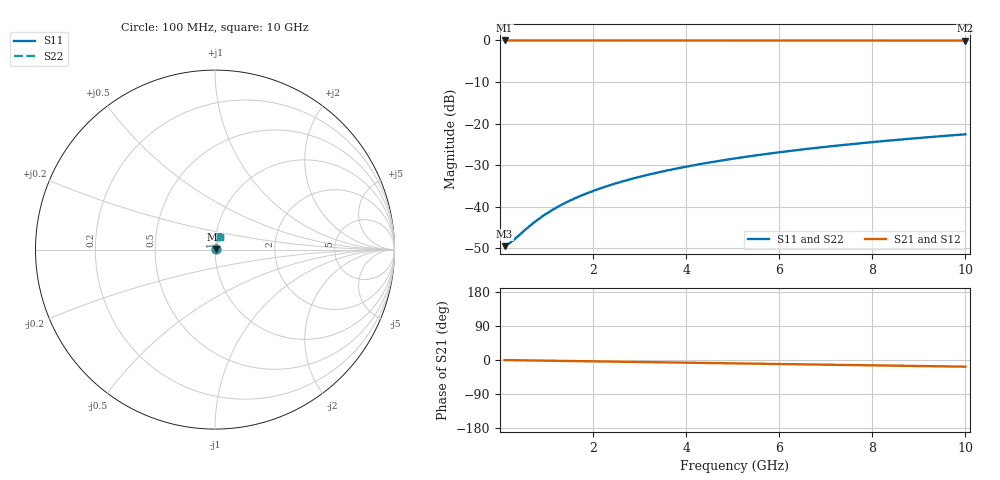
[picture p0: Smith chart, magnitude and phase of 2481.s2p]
# Hz S RI R 50.00
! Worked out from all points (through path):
!   100 points, 100 MHz to 10 GHz, reference 50 ohm
!   highest |S21| = -0.03 dB at 100 MHz (marker M1); lowest = -0.1 dB at 10 GHz (marker M2)
!   group delay of S21, straight-line fit = 4.89 ps
!   lowest |S11| = -49.5 dB at 100 MHz (marker M3), VSWR 1.01, Z = 50.3 + j0.0749 ohm
!   |S11| at or under -10 dB: start of sweep to end of sweep
!   |S22| runs from -49.5 to -22.6 dB; largest |S21 - S12| = 0
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1e8  0.00327 0.000744  0.9967 -0.00306  0.9967 -0.00306  0.00327 0.000744
2e8  0.0033 0.00149  0.9967 -0.00612  0.9967 -0.00612  0.0033 0.00149
3e8  0.00332 0.00223  0.9966 -0.00919  0.9966 -0.00919  0.00332 0.00223
6e8  0.00341 0.00446  0.9965 -0.0184  0.9965 -0.0184  0.00341 0.00446
7e8  0.00345 0.0052  0.9964 -0.0214  0.9964 -0.0214  0.00345 0.0052
8e8  0.00349 0.00595  0.9963 -0.0245  0.9963 -0.0245  0.00349 0.00595
1e9  0.00359 0.00743  0.9961 -0.0306  0.9961 -0.0306  0.00359 0.00743
1.2e9  0.0037 0.00891  0.9959 -0.0367  0.9959 -0.0367  0.0037 0.00891
1.4e9  0.00383 0.0104  0.9956 -0.0429  0.9956 -0.0429  0.00383 0.0104
1.6e9  0.00398 0.0119  0.9953 -0.049  0.9953 -0.049  0.00398 0.0119
1.8e9  0.00414 0.0134  0.9949 -0.0551  0.9949 -0.0551  0.00414 0.0134
2.1e9  0.00442 0.0156  0.9943 -0.0643  0.9943 -0.0643  0.00442 0.0156
2.5e9  0.00485 0.0185  0.9934 -0.0765  0.9934 -0.0765  0.00485 0.0185
2.9e9  0.00536 0.0214  0.9923 -0.0887  0.9923 -0.0887  0.00536 0.0214
3.4e9  0.00609 0.0251  0.9907 -0.1039  0.9907 -0.1039  0.00609 0.0251
4.2e9  0.00749 0.0308  0.9877 -0.1282  0.9877 -0.1282  0.00749 0.0308
5.1e9  0.0094 0.0373  0.9835 -0.1554  0.9835 -0.1554  0.0094 0.0373
5.9e9  0.0114 0.0428  0.9791 -0.1795  0.9791 -0.1795  0.0114 0.0428
6.7e9  0.0137 0.0483  0.9741 -0.2035  0.9741 -0.2035  0.0137 0.0483
7.5e9  0.0162 0.0537  0.9684 -0.2273  0.9684 -0.2273  0.0162 0.0537
8.4e9  0.0194 0.0596  0.9614 -0.2539  0.9614 -0.2539  0.0194 0.0596
1e10  0.0258 0.0695  0.9469 -0.3006  0.9469 -0.3006  0.0258 0.0695
